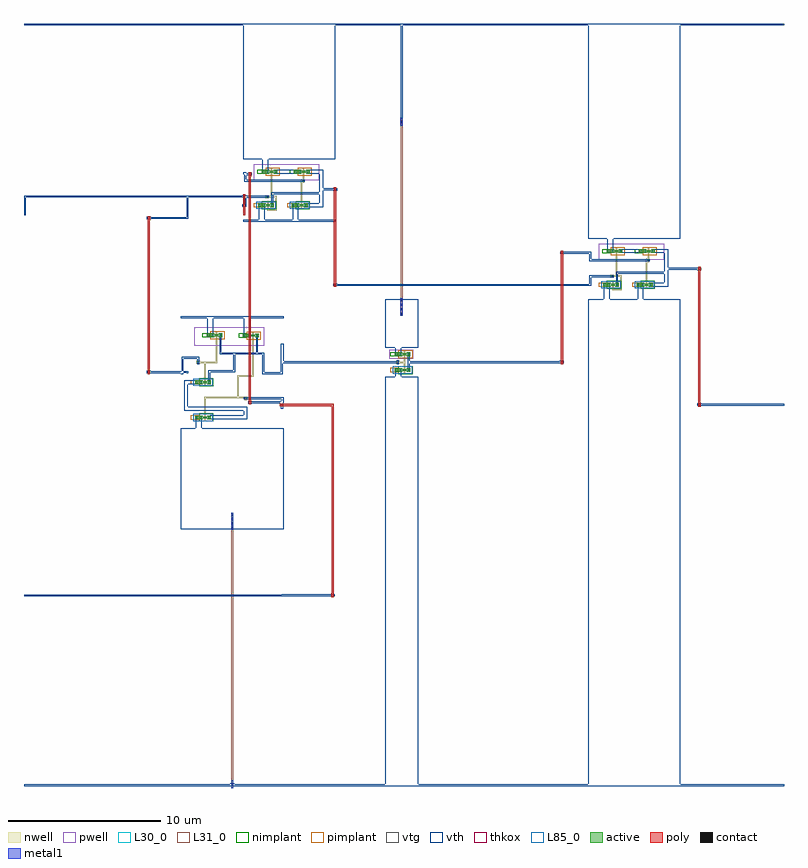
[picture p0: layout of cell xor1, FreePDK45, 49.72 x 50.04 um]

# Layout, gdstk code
import gdstk
lib = gdstk.Library(unit=1e-6, precision=5e-10)
def R(c, l, rs):  # rectangles x0, y0, x1, y1
    for r in rs: c.add(gdstk.rectangle(r[:2], r[2:], *l))
def A(c, l, x, y, w, h, nx, ny, dx, dy):  # array of equal rectangles
    R(c, l, [(x+i*dx, y+j*dy, x+i*dx+w, y+j*dy+h) for i in range(nx) for j in range(ny)])
active = (1, 0)
pwell = (2, 0)
nwell = (3, 0)
nimplant = (4, 0)
pimplant = (5, 0)
vtg = (6, 0)
vth = (7, 0)
thkox = (8, 0)
poly = (9, 0)
contact = (10, 0)
metal1 = (11, 0)
L30_0 = (30, 0)
L31_0 = (31, 0)
L85_0 = (85, 0)

nmos1v_0 = lib.new_cell('nmos1v_0')
A(nmos1v_0, active, -0.1, 0, 0.1, 0.12, 3, 1, 0.1, 0)
R(nmos1v_0, active, [(-0.6,-0.06,-0.1,0.18), (0.2,-0.06,0.44,0.18)])
R(nmos1v_0, nwell, [(0,-0.18,0.1,-0.16), (0,-0.16,0.1,0), (0,0,0.1,0.12), (0,0.12,0.1,0.28), (0,0.28,0.1,0.3)])
R(nmos1v_0, nimplant, [(-0.34,-0.2,0.58,0.32), (-0.18,-0.18,0.28,0.3)])
R(nmos1v_0, pimplant, [(-0.88,-0.08,-0.34,0.2)])
R(nmos1v_0, vtg, [(-0.54,0,-0.42,0.12), (-0.28,0,-0.16,0.12), (0.26,0,0.38,0.12)])
R(nmos1v_0, vth, [(-0.54,-0.06,-0.16,0.18), (-0.54,-0.06,-0.16,0.18), (0.26,-0.06,0.38,0.18)])
R(nmos1v_0, L85_0, [(-0.72,-0.18,0.56,0.3)])

pmos1v_1 = lib.new_cell('pmos1v_1')
A(pmos1v_1, active, -0.1, 0, 0.1, 0.12, 3, 1, 0.1, 0)
R(pmos1v_1, active, [(-0.6,-0.06,-0.1,0.18), (0.2,-0.06,0.44,0.18)])
R(pmos1v_1, pwell, [(-0.72,-0.18,0.56,0.3)])
R(pmos1v_1, nwell, [(0,-0.18,0.1,-0.16), (0,-0.16,0.1,0), (0,0,0.1,0.12), (0,0.12,0.1,0.28), (0,0.28,0.1,0.3)])
R(pmos1v_1, nimplant, [(-0.88,-0.08,-0.34,0.2)])
R(pmos1v_1, pimplant, [(-0.34,-0.2,0.58,0.32), (-0.18,-0.18,0.28,0.3)])
R(pmos1v_1, vtg, [(-0.54,0,-0.42,0.12), (-0.28,0,-0.16,0.12), (0.26,0,0.38,0.12)])
R(pmos1v_1, vth, [(-0.54,-0.06,-0.16,0.18), (-0.54,-0.06,-0.16,0.18), (0.26,-0.06,0.38,0.18)])

m1_pov_10 = lib.new_cell('M1_POv_10')
R(m1_pov_10, nwell, [(-0.1,-0.12,0.1,0.12)])
R(m1_pov_10, vtg, [(-0.06,-0.06,0.06,0.06)])
R(m1_pov_10, vth, [(-0.12,-0.06,0.12,0.06)])

m1_pov_11 = lib.new_cell('M1_POv_11')
R(m1_pov_11, nwell, [(-0.12,-0.1,0.12,0.1)])
R(m1_pov_11, vtg, [(-0.06,-0.06,0.06,0.06)])
R(m1_pov_11, vth, [(-0.12,-0.06,0.12,0.06)])

nor = lib.new_cell('nor')
R(nor, pwell, [(0.67,2.71,4.98,3.73)])
R(nor, vth, [(0,0,6,0.12), (0,0.99,0.12,1.11), (5.88,2.04,6,2.16), (0,3.09,0.12,3.21), (0,4.08,6,4.2)])
nor.add(gdstk.FlexPath([(2.15,1.62),(1.84,1.62)], 0.1, ends="extended", simple_path=True, layer=3, datatype=0))  # nwell
nor.add(gdstk.FlexPath([(2.15,0.765),(2.15,1.62)], 0.1, ends="extended", simple_path=True, layer=3, datatype=0))  # nwell
nor.add(gdstk.FlexPath([(1.61,0.765),(2.15,0.765)], 0.1, ends="extended", simple_path=True, layer=3, datatype=0))  # nwell
nor.add(gdstk.FlexPath([(1.61,0.82),(1.61,0.765)], 0.1, ends=(0, 0.05), simple_path=True, layer=3, datatype=0))  # nwell
nor.add(gdstk.FlexPath([(1.84,1.62),(1.84,3.02)], 0.1, ends=(0.05, 0), simple_path=True, layer=3, datatype=0))  # nwell
nor.add(gdstk.FlexPath([(1.55,1.62),(1.84,1.62)], 0.1, ends=(0.12, 0.05), simple_path=True, layer=3, datatype=0))  # nwell
nor.add(gdstk.FlexPath([(3.95,3.02),(3.95,2.66)], 0.1, ends=(0, 0.05), simple_path=True, layer=3, datatype=0))  # nwell
nor.add(gdstk.FlexPath([(3.9,2.66),(3.95,2.66)], 0.1, ends=(0.05, 0), simple_path=True, layer=3, datatype=0))  # nwell
nor.add(gdstk.FlexPath([(3.81,2.66),(3.81,1.3)], 0.1, ends=(0.05, 0), simple_path=True, layer=3, datatype=0))  # nwell
nor.add(gdstk.FlexPath([(3.95,2.66),(3.81,2.66)], 0.1, ends="extended", simple_path=True, layer=3, datatype=0))  # nwell
nor.add(gdstk.FlexPath([(0.12,1.62),(1.55,1.62)], 0.12, ends=(0.06, 0.12), simple_path=True, layer=7, datatype=0))  # vth
nor.add(gdstk.FlexPath([(0.12,1.05),(0.12,1.62)], 0.12, ends="extended", simple_path=True, layer=7, datatype=0))  # vth
nor.add(gdstk.FlexPath([(4.14,1.06),(5.1,1.06)], 0.24, ends=(0, 0.12), simple_path=True, layer=7, datatype=0))  # vth
nor.add(gdstk.FlexPath([(5.88,2.1),(5.1,2.1)], 0.12, ends=(0, 0.12), simple_path=True, layer=7, datatype=0))  # vth
nor.add(gdstk.FlexPath([(5.1,3.26),(4.28,3.26)], 0.24, ends=(0.12, 0), simple_path=True, layer=7, datatype=0))  # vth
nor.add(gdstk.FlexPath([(1.88,1.18),(1.88,1.85)], 0.12, ends=(0, 0.06), simple_path=True, layer=7, datatype=0))  # vth
nor.add(gdstk.FlexPath([(0.12,2.66),(3.9,2.66)], 0.12, ends="extended", simple_path=True, layer=7, datatype=0))  # vth
nor.add(gdstk.FlexPath([(0.12,3.15),(0.12,2.66)], 0.12, ends="extended", simple_path=True, layer=7, datatype=0))  # vth
nor.add(gdstk.FlexPath([(2.17,3.26),(3.36,3.26)], 0.24, ends="flush", simple_path=True, layer=7, datatype=0))  # vth
nor.add(gdstk.FlexPath([(5.1,1.06),(5.1,1.85)], 0.24, ends=(0.12, 0.06), simple_path=True, layer=7, datatype=0))  # vth
nor.add(gdstk.FlexPath([(1.88,1.85),(5.1,1.85)], 0.12, ends=(0.06, 0.12), simple_path=True, layer=7, datatype=0))  # vth
nor.add(gdstk.FlexPath([(5.1,1.85),(5.1,2.1)], 0.24, ends=(0.06, 0.06), simple_path=True, layer=7, datatype=0))  # vth
nor.add(gdstk.FlexPath([(5.1,2.1),(5.1,3.26)], 0.24, ends=(0.06, 0.12), simple_path=True, layer=7, datatype=0))  # vth
nor.add(gdstk.FlexPath([(3.41,0.94),(3.41,0)], 0.38, ends="flush", simple_path=True, layer=7, datatype=0))  # vth
nor.add(gdstk.FlexPath([(1.21,0.94),(1.21,0)], 0.38, ends="flush", simple_path=True, layer=7, datatype=0))  # vth
nor.add(gdstk.FlexPath([(1.44,3.38),(1.44,4.2)], 0.38, ends="flush", simple_path=True, layer=7, datatype=0))  # vth
nor.add(gdstk.Reference(nmos1v_0, (3.76,1)))
nor.add(gdstk.Reference(nmos1v_0, (1.56,1)))
nor.add(gdstk.Reference(pmos1v_1, (3.9,3.2)))
nor.add(gdstk.Reference(pmos1v_1, (1.79,3.2)))
nor.add(gdstk.Reference(m1_pov_10, (3.9,2.66)))
nor.add(gdstk.Reference(m1_pov_11, (1.55,1.62)))

m1_pov_12 = lib.new_cell('M1_POv_12')
R(m1_pov_12, nwell, [(-0.12,-0.1,0.12,0.1)])
R(m1_pov_12, vtg, [(-0.06,-0.06,0.06,0.06)])
R(m1_pov_12, vth, [(-0.06,-0.12,0.06,0.12)])

nand = lib.new_cell('nand')
R(nand, pwell, [(0.88,5.52,5.47,6.72)])
R(nand, vth, [(0,0,6.74,0.12), (6.62,1.805,6.74,1.925), (0,3.665,0.12,3.785), (6.62,5.53,6.74,5.65), (0,7.33,6.74,7.45)])
nand.add(gdstk.FlexPath([(3.75,3.55),(3.75,2.14)], 0.1, ends="extended", simple_path=True, layer=3, datatype=0))  # nwell
nand.add(gdstk.FlexPath([(1.59,2.14),(3.75,2.14)], 0.1, ends="extended", simple_path=True, layer=3, datatype=0))  # nwell
nand.add(gdstk.FlexPath([(1.59,1.07),(1.59,2.14)], 0.1, ends=(0, 0.05), simple_path=True, layer=3, datatype=0))  # nwell
nand.add(gdstk.FlexPath([(3.75,2.14),(4.25,2.14)], 0.1, ends="extended", simple_path=True, layer=3, datatype=0))  # nwell
nand.add(gdstk.FlexPath([(1.59,3.37),(1.59,4.44)], 0.1, ends=(0, 0.05), simple_path=True, layer=3, datatype=0))  # nwell
nand.add(gdstk.FlexPath([(2.34,4.44),(1.59,4.44)], 0.1, ends="extended", simple_path=True, layer=3, datatype=0))  # nwell
nand.add(gdstk.FlexPath([(1.15,4.44),(1.59,4.44)], 0.1, ends=(0, 0.05), simple_path=True, layer=3, datatype=0))  # nwell
nand.add(gdstk.FlexPath([(4.72,5.95),(4.72,3.55)], 0.1, ends=(0, 0.05), simple_path=True, layer=3, datatype=0))  # nwell
nand.add(gdstk.FlexPath([(2.34,5.97),(2.34,4.44)], 0.1, ends=(0, 0.05), simple_path=True, layer=3, datatype=0))  # nwell
nand.add(gdstk.FlexPath([(4.25,2.14),(4.25,2.08)], 0.1, ends=(0.05, 0), simple_path=True, layer=3, datatype=0))  # nwell
nand.add(gdstk.FlexPath([(4.72,3.55),(3.75,3.55)], 0.1, ends="extended", simple_path=True, layer=3, datatype=0))  # nwell
nand.add(gdstk.FlexPath([(0.12,3.725),(0.12,4.74)], 0.12, ends="extended", simple_path=True, layer=7, datatype=0))  # vth
nand.add(gdstk.FlexPath([(6.62,5.59),(6.62,3.725)], 0.12, ends="extended", simple_path=True, layer=7, datatype=0))  # vth
nand.add(gdstk.FlexPath([(4.23,1.4),(4.23,0.84)], 0.24, ends="extended", simple_path=True, layer=7, datatype=0))  # vth
nand.add(gdstk.FlexPath([(1.86,3.86),(3.51,3.86)], 0.12, ends="extended", simple_path=True, layer=7, datatype=0))  # vth
nand.add(gdstk.FlexPath([(2.61,5.01),(2.61,6.09)], 0.12, ends=(0.06, 0), simple_path=True, layer=7, datatype=0))  # vth
nand.add(gdstk.FlexPath([(0.35,1.4),(4.23,1.4)], 0.24, ends="extended", simple_path=True, layer=7, datatype=0))  # vth
nand.add(gdstk.FlexPath([(1.19,0.71),(1.19,0.12)], 0.38, ends="flush", simple_path=True, layer=7, datatype=0))  # vth
nand.add(gdstk.FlexPath([(1.15,4.74),(1.15,4.44)], 0.12, ends=(0.06, 0), simple_path=True, layer=7, datatype=0))  # vth
nand.add(gdstk.FlexPath([(4.23,0.84),(1.92,0.84)], 0.24, ends=(0.12, 0), simple_path=True, layer=7, datatype=0))  # vth
nand.add(gdstk.FlexPath([(3.51,3.86),(3.51,5.01)], 0.12, ends="extended", simple_path=True, layer=7, datatype=0))  # vth
nand.add(gdstk.FlexPath([(1.94,6.33),(1.94,7.45)], 0.38, ends="flush", simple_path=True, layer=7, datatype=0))  # vth
nand.add(gdstk.FlexPath([(5.41,3.725),(5.41,5.01)], 0.12, ends="extended", simple_path=True, layer=7, datatype=0))  # vth
nand.add(gdstk.FlexPath([(1.86,3.25),(1.86,3.86)], 0.12, ends=(0, 0.06), simple_path=True, layer=7, datatype=0))  # vth
nand.add(gdstk.FlexPath([(6.62,3.725),(5.41,3.725)], 0.12, ends="extended", simple_path=True, layer=7, datatype=0))  # vth
nand.add(gdstk.FlexPath([(4.32,6.31),(4.32,7.33)], 0.38, ends="flush", simple_path=True, layer=7, datatype=0))  # vth
nand.add(gdstk.FlexPath([(4.99,5.01),(3.51,5.01)], 0.12, ends="extended", simple_path=True, layer=7, datatype=0))  # vth
nand.add(gdstk.FlexPath([(3.51,5.01),(2.61,5.01)], 0.12, ends="extended", simple_path=True, layer=7, datatype=0))  # vth
nand.add(gdstk.FlexPath([(4.99,6.07),(4.99,5.01)], 0.12, ends=(0, 0.06), simple_path=True, layer=7, datatype=0))  # vth
nand.add(gdstk.FlexPath([(0.35,3.13),(0.35,1.4)], 0.24, ends="extended", simple_path=True, layer=7, datatype=0))  # vth
nand.add(gdstk.FlexPath([(1,3.13),(0.35,3.13)], 0.24, ends=(0, 0.12), simple_path=True, layer=7, datatype=0))  # vth
nand.add(gdstk.FlexPath([(6.68,2.08),(6.68,1.805)], 0.12, ends=(0.06, 0), simple_path=True, layer=7, datatype=0))  # vth
nand.add(gdstk.FlexPath([(4.25,2.08),(6.68,2.08)], 0.12, ends=(0, 0.06), simple_path=True, layer=7, datatype=0))  # vth
nand.add(gdstk.FlexPath([(5.41,5.01),(4.99,5.01)], 0.12, ends="extended", simple_path=True, layer=7, datatype=0))  # vth
nand.add(gdstk.FlexPath([(0.12,4.74),(1.15,4.74)], 0.12, ends="extended", simple_path=True, layer=7, datatype=0))  # vth
nand.add(gdstk.Reference(nmos1v_0, (1.54,3.07)))
nand.add(gdstk.Reference(nmos1v_0, (1.54,0.77)))
nand.add(gdstk.Reference(pmos1v_1, (2.29,6.15)))
nand.add(gdstk.Reference(pmos1v_1, (4.67,6.13)))
nand.add(gdstk.Reference(m1_pov_10, (4.25,2.08)))
nand.add(gdstk.Reference(m1_pov_12, (1.15,4.44)))

inv = lib.new_cell('inv')
R(inv, pwell, [(0.26,1.3,1.83,1.9)])
R(inv, vth, [(0,0,2.15,0.12), (0,1.015,0.12,1.135), (2.03,1.015,2.15,1.135), (0,2.03,2.15,2.15)])
inv.add(gdstk.FlexPath([(0.83,1.08),(1.26,1.08)], 0.1, ends=(0, 0.05), simple_path=True, layer=3, datatype=0))  # nwell
inv.add(gdstk.FlexPath([(1.26,1.37),(1.26,1.08)], 0.1, ends=(0, 0.05), simple_path=True, layer=3, datatype=0))  # nwell
inv.add(gdstk.FlexPath([(1.26,1.08),(1.26,0.81)], 0.1, ends=(0.05, 0), simple_path=True, layer=3, datatype=0))  # nwell
inv.add(gdstk.FlexPath([(0.86,0.45),(0.86,0.12)], 0.38, ends="flush", simple_path=True, layer=7, datatype=0))  # vth
inv.add(gdstk.FlexPath([(0.86,1.73),(0.86,2.03)], 0.38, ends="flush", simple_path=True, layer=7, datatype=0))  # vth
inv.add(gdstk.FlexPath([(2.03,1.075),(1.53,1.075)], 0.12, ends="extended", simple_path=True, layer=7, datatype=0))  # vth
inv.add(gdstk.FlexPath([(1.53,1.49),(1.53,1.075)], 0.12, ends=(0, 0.06), simple_path=True, layer=7, datatype=0))  # vth
inv.add(gdstk.FlexPath([(1.53,1.075),(1.53,0.69)], 0.12, ends=(0.06, 0), simple_path=True, layer=7, datatype=0))  # vth
inv.add(gdstk.FlexPath([(0.83,1.075),(0.83,1.08)], 0.12, ends=(0.06, 0), simple_path=True, layer=7, datatype=0))  # vth
inv.add(gdstk.FlexPath([(0.12,1.075),(0.83,1.075)], 0.12, ends=(0, 0.06), simple_path=True, layer=7, datatype=0))  # vth
inv.add(gdstk.Reference(nmos1v_0, (1.21,0.51)))
inv.add(gdstk.Reference(pmos1v_1, (1.21,1.55)))
inv.add(gdstk.Reference(m1_pov_12, (0.83,1.08)))

m2_m1v_0 = lib.new_cell('M2_M1v_0')
R(m2_m1v_0, vth, [(-0.13,-0.075,0.13,0.075)])
R(m2_m1v_0, thkox, [(-0.07,-0.07,0.07,0.07)])
R(m2_m1v_0, poly, [(-0.075,-0.13,0.075,0.13)])

m2_m1v_1 = lib.new_cell('M2_M1v_1')
R(m2_m1v_1, vth, [(-0.075,-0.235,0.075,0.235)])
R(m2_m1v_1, thkox, [(-0.07,-0.07,0.07,0.07)])
R(m2_m1v_1, poly, [(-0.13,-0.075,0.13,0.075)])

m2_m1v_2 = lib.new_cell('M2_M1v_2')
R(m2_m1v_2, vth, [(-0.075,-0.13,0.075,0.13)])
R(m2_m1v_2, thkox, [(-0.07,-0.07,0.07,0.07)])
R(m2_m1v_2, poly, [(-0.075,-0.27,0.075,0.27)])

m2_m1v_3 = lib.new_cell('M2_M1v_3')
R(m2_m1v_3, vth, [(-1.075,-0.51,1.075,0.51)])
A(m2_m1v_3, thkox, -0.07, -0.505, 0.14, 0.14, 1, 4, 0, 0.29)
R(m2_m1v_3, poly, [(-0.075,-0.565,0.075,0.565)])

m3_m2v_4 = lib.new_cell('M3_M2v_4')
R(m3_m2v_4, poly, [(-0.075,-0.565,0.075,0.565)])
A(m3_m2v_4, contact, -0.07, -0.505, 0.14, 0.14, 1, 4, 0, 0.29)
R(m3_m2v_4, metal1, [(-0.075,-0.565,0.075,0.565)])

m4_m3v_5 = lib.new_cell('M4_M3v_5')
R(m4_m3v_5, metal1, [(-0.075,-0.565,0.075,0.565)])
A(m4_m3v_5, L30_0, -0.07, -0.505, 0.14, 0.14, 1, 4, 0, 0.29)
R(m4_m3v_5, L31_0, [(-0.075,-0.565,0.075,0.565)])

m4_m3v_6 = lib.new_cell('M4_M3v_6')
R(m4_m3v_6, metal1, [(-0.075,-0.27,0.075,0.27)])
R(m4_m3v_6, L30_0, [(-0.07,-0.07,0.07,0.07)])
R(m4_m3v_6, L31_0, [(-0.075,-0.13,0.075,0.13)])

m3_m2v_7 = lib.new_cell('M3_M2v_7')
R(m3_m2v_7, poly, [(-0.075,-0.27,0.075,0.27)])
R(m3_m2v_7, contact, [(-0.07,-0.07,0.07,0.07)])
R(m3_m2v_7, metal1, [(-0.075,-0.27,0.075,0.27)])

m2_m1v_8 = lib.new_cell('M2_M1v_8')
R(m2_m1v_8, vth, [(-3.37,-0.51,3.37,0.51)])
A(m2_m1v_8, thkox, -0.07, -0.505, 0.14, 0.14, 1, 4, 0, 0.29)
R(m2_m1v_8, poly, [(-0.075,-0.565,0.075,0.565)])

m2_m1v_9 = lib.new_cell('M2_M1v_9')
R(m2_m1v_9, vth, [(-0.13,-0.075,0.13,0.075)])
R(m2_m1v_9, thkox, [(-0.07,-0.07,0.07,0.07)])
R(m2_m1v_9, poly, [(-0.075,-0.27,0.075,0.27)])

xor1 = lib.new_cell('xor1')
R(xor1, vth, [(0,0,49.72,0.12), (0,12.415,0.12,12.535), (49.6,24.885,49.72,25.005), (0,37.36,0.12,37.48), (0,49.77,49.72,49.89)])
xor1.add(gdstk.FlexPath([(35.205,34.89),(36.92,34.89)], 0.12, ends="flush", simple_path=True, layer=7, datatype=0))  # vth
xor1.add(gdstk.FlexPath([(39.92,31.74),(39.92,0.12)], 6, ends="flush", simple_path=True, layer=7, datatype=0))  # vth
xor1.add(gdstk.FlexPath([(24.705,26.65),(24.705,0.12)], 2.15, ends="flush", simple_path=True, layer=7, datatype=0))  # vth
xor1.add(gdstk.FlexPath([(0.12,12.475),(16.93,12.475)], 0.12, ends="flush", simple_path=True, layer=7, datatype=0))  # vth
xor1.add(gdstk.FlexPath([(16.93,12.475),(20.19,12.475)], 0.12, ends=(0, 0.06), simple_path=True, layer=7, datatype=0))  # vth
xor1.add(gdstk.FlexPath([(24.705,43.47),(24.705,49.77)], 0.12, ends="flush", simple_path=True, layer=7, datatype=0))  # vth
xor1.add(gdstk.FlexPath([(24.705,28.8),(24.705,31.35)], 2.15, ends="flush", simple_path=True, layer=7, datatype=0))  # vth
xor1.add(gdstk.FlexPath([(39.92,35.94),(39.92,49.77)], 6, ends="flush", simple_path=True, layer=7, datatype=0))  # vth
xor1.add(gdstk.FlexPath([(17.35,41.14),(17.35,49.77)], 6, ends="flush", simple_path=True, layer=7, datatype=0))  # vth
xor1.add(gdstk.FlexPath([(16.93,27.725),(16.93,28.82)], 0.12, ends=(0.06, 0), simple_path=True, layer=7, datatype=0))  # vth
xor1.add(gdstk.FlexPath([(23.63,27.725),(16.93,27.725)], 0.12, ends=(0, 0.06), simple_path=True, layer=7, datatype=0))  # vth
xor1.add(gdstk.FlexPath([(44.185,33.84),(42.92,33.84)], 0.12, ends="flush", simple_path=True, layer=7, datatype=0))  # vth
xor1.add(gdstk.FlexPath([(25.78,27.725),(35.2,27.725)], 0.12, ends=(0, 0.06), simple_path=True, layer=7, datatype=0))  # vth
xor1.add(gdstk.FlexPath([(20.355,39.04),(20.35,39.04)], 0.12, ends=(0.06, 0), simple_path=True, layer=7, datatype=0))  # vth
xor1.add(gdstk.FlexPath([(20.35,32.805),(20.355,32.805)], 0.12, ends="extended", simple_path=True, layer=7, datatype=0))  # vth
xor1.add(gdstk.FlexPath([(20.35,32.79),(20.35,32.805)], 0.12, ends="extended", simple_path=True, layer=7, datatype=0))  # vth
xor1.add(gdstk.FlexPath([(36.92,32.79),(20.35,32.79)], 0.12, ends=(0, 0.06), simple_path=True, layer=7, datatype=0))  # vth
xor1.add(gdstk.FlexPath([(0.06,37.48),(0.06,38.58)], 0.12, ends=(0, 0.06), simple_path=True, layer=7, datatype=0))  # vth
xor1.add(gdstk.FlexPath([(49.6,24.945),(44.18,24.945)], 0.12, ends=(0, 0.06), simple_path=True, layer=7, datatype=0))  # vth
xor1.add(gdstk.FlexPath([(14.78,40.03),(14.47,40.03)], 0.12, ends="extended", simple_path=True, layer=7, datatype=0))  # vth
xor1.add(gdstk.FlexPath([(14.78,40.045),(14.78,40.03)], 0.12, ends="extended", simple_path=True, layer=7, datatype=0))  # vth
xor1.add(gdstk.FlexPath([(14.785,40.045),(14.78,40.045)], 0.12, ends="extended", simple_path=True, layer=7, datatype=0))  # vth
xor1.add(gdstk.FlexPath([(14.78,25.1),(14.785,25.1)], 0.12, ends="extended", simple_path=True, layer=7, datatype=0))  # vth
xor1.add(gdstk.FlexPath([(14.78,25.115),(14.78,25.1)], 0.12, ends="extended", simple_path=True, layer=7, datatype=0))  # vth
xor1.add(gdstk.FlexPath([(16.87,25.115),(14.78,25.115)], 0.12, ends="extended", simple_path=True, layer=7, datatype=0))  # vth
xor1.add(gdstk.FlexPath([(16.87,25.155),(16.93,25.155)], 0.12, ends=(0.06, 0), simple_path=True, layer=7, datatype=0))  # vth
xor1.add(gdstk.FlexPath([(16.87,24.94),(16.87,25.155)], 0.12, ends="extended", simple_path=True, layer=7, datatype=0))  # vth
xor1.add(gdstk.FlexPath([(16.93,12.49),(20.185,12.49)], 0.12, ends="extended", simple_path=True, layer=7, datatype=0))  # vth
xor1.add(gdstk.FlexPath([(16.93,12.475),(16.93,12.49)], 0.12, ends="extended", simple_path=True, layer=7, datatype=0))  # vth
xor1.add(gdstk.FlexPath([(13.62,23.29),(13.62,17.33)], 6.74, ends="flush", simple_path=True, layer=7, datatype=0))  # vth
xor1.add(gdstk.FlexPath([(10.7,37.165),(10.7,38.58)], 0.12, ends="extended", simple_path=True, layer=7, datatype=0))  # vth
xor1.add(gdstk.FlexPath([(8.175,37.165),(10.7,37.165)], 0.12, ends="extended", simple_path=True, layer=7, datatype=0))  # vth
xor1.add(gdstk.FlexPath([(10.7,27.09),(8.165,27.09)], 0.12, ends="extended", simple_path=True, layer=7, datatype=0))  # vth
xor1.add(gdstk.FlexPath([(10.7,27.075),(10.7,27.09)], 0.12, ends="extended", simple_path=True, layer=7, datatype=0))  # vth
xor1.add(gdstk.FlexPath([(10.37,27.075),(8.17,27.075)], 0.12, ends="extended", simple_path=True, layer=7, datatype=0))  # vth
xor1.add(gdstk.FlexPath([(0.06,38.58),(10.7,38.58)], 0.12, ends="extended", simple_path=True, layer=7, datatype=0))  # vth
xor1.add(gdstk.FlexPath([(14.41,38.595),(14.405,38.595)], 0.12, ends="extended", simple_path=True, layer=7, datatype=0))  # vth
xor1.add(gdstk.FlexPath([(14.41,38.58),(14.41,38.595)], 0.12, ends="extended", simple_path=True, layer=7, datatype=0))  # vth
xor1.add(gdstk.FlexPath([(10.7,38.58),(14.41,38.58)], 0.12, ends="extended", simple_path=True, layer=7, datatype=0))  # vth
xor1.add(gdstk.FlexPath([(35.2,34.89),(35.205,34.89)], 0.14, ends=(0.07, 0), simple_path=True, layer=9, datatype=0))  # poly
xor1.add(gdstk.FlexPath([(35.2,27.725),(35.2,34.89)], 0.14, ends="extended", simple_path=True, layer=9, datatype=0))  # poly
xor1.add(gdstk.FlexPath([(35.195,27.725),(35.2,27.725)], 0.14, ends="extended", simple_path=True, layer=9, datatype=0))  # poly
xor1.add(gdstk.FlexPath([(35.195,27.74),(35.195,27.725)], 0.14, ends="extended", simple_path=True, layer=9, datatype=0))  # poly
xor1.add(gdstk.FlexPath([(20.35,39.04),(20.355,39.04)], 0.14, ends="extended", simple_path=True, layer=9, datatype=0))  # poly
xor1.add(gdstk.FlexPath([(20.35,32.79),(20.35,39.04)], 0.14, ends="extended", simple_path=True, layer=9, datatype=0))  # poly
xor1.add(gdstk.FlexPath([(20.355,32.79),(20.35,32.79)], 0.14, ends="extended", simple_path=True, layer=9, datatype=0))  # poly
xor1.add(gdstk.FlexPath([(20.355,32.805),(20.355,32.79)], 0.14, ends="extended", simple_path=True, layer=9, datatype=0))  # poly
xor1.add(gdstk.FlexPath([(44.18,33.84),(44.185,33.84)], 0.14, ends=(0.07, 0), simple_path=True, layer=9, datatype=0))  # poly
xor1.add(gdstk.FlexPath([(44.18,24.945),(44.18,33.84)], 0.14, ends="extended", simple_path=True, layer=9, datatype=0))  # poly
xor1.add(gdstk.FlexPath([(44.185,24.945),(44.18,24.945)], 0.14, ends="extended", simple_path=True, layer=9, datatype=0))  # poly
xor1.add(gdstk.FlexPath([(44.185,24.96),(44.185,24.945)], 0.14, ends="extended", simple_path=True, layer=9, datatype=0))  # poly
xor1.add(gdstk.FlexPath([(14.785,40.03),(14.785,40.045)], 0.14, ends="extended", simple_path=True, layer=9, datatype=0))  # poly
xor1.add(gdstk.FlexPath([(14.78,40.03),(14.785,40.03)], 0.14, ends="extended", simple_path=True, layer=9, datatype=0))  # poly
xor1.add(gdstk.FlexPath([(14.78,25.115),(14.78,40.03)], 0.14, ends="extended", simple_path=True, layer=9, datatype=0))  # poly
xor1.add(gdstk.FlexPath([(14.785,25.115),(14.78,25.115)], 0.14, ends="extended", simple_path=True, layer=9, datatype=0))  # poly
xor1.add(gdstk.FlexPath([(14.785,25.1),(14.785,25.115)], 0.14, ends="extended", simple_path=True, layer=9, datatype=0))  # poly
xor1.add(gdstk.FlexPath([(20.19,24.94),(16.87,24.94)], 0.14, ends="extended", simple_path=True, layer=9, datatype=0))  # poly
xor1.add(gdstk.FlexPath([(20.19,12.475),(20.19,24.94)], 0.14, ends="extended", simple_path=True, layer=9, datatype=0))  # poly
xor1.add(gdstk.FlexPath([(20.185,12.475),(20.19,12.475)], 0.14, ends="extended", simple_path=True, layer=9, datatype=0))  # poly
xor1.add(gdstk.FlexPath([(20.185,12.49),(20.185,12.475)], 0.14, ends="extended", simple_path=True, layer=9, datatype=0))  # poly
xor1.add(gdstk.FlexPath([(8.17,37.165),(8.175,37.165)], 0.14, ends="extended", simple_path=True, layer=9, datatype=0))  # poly
xor1.add(gdstk.FlexPath([(8.17,27.075),(8.17,37.165)], 0.14, ends="extended", simple_path=True, layer=9, datatype=0))  # poly
xor1.add(gdstk.FlexPath([(8.165,27.075),(8.17,27.075)], 0.14, ends="extended", simple_path=True, layer=9, datatype=0))  # poly
xor1.add(gdstk.FlexPath([(8.165,27.09),(8.165,27.075)], 0.14, ends="extended", simple_path=True, layer=9, datatype=0))  # poly
xor1.add(gdstk.FlexPath([(14.41,37.99),(14.415,37.99)], 0.14, ends=(0.07, 0), simple_path=True, layer=9, datatype=0))  # poly
xor1.add(gdstk.FlexPath([(14.41,38.58),(14.41,37.99)], 0.14, ends="extended", simple_path=True, layer=9, datatype=0))  # poly
xor1.add(gdstk.FlexPath([(14.405,37.42),(14.41,37.42)], 0.14, ends="extended", simple_path=True, layer=9, datatype=0))  # poly
xor1.add(gdstk.FlexPath([(14.405,38.595),(14.405,37.42)], 0.14, ends="extended", simple_path=True, layer=9, datatype=0))  # poly
xor1.add(gdstk.FlexPath([(13.62,17.33),(13.62,0.12)], 0.14, ends="flush", simple_path=True, layer=31, datatype=0))  # L31_0
xor1.add(gdstk.FlexPath([(24.705,31.35),(24.705,43.47)], 0.14, ends="flush", simple_path=True, layer=31, datatype=0))  # L31_0
xor1.add(gdstk.Reference(nor, (36.92,31.74)))
xor1.add(gdstk.Reference(nor, (14.35,36.94)))
xor1.add(gdstk.Reference(nand, (10.25,23.29)))
xor1.add(gdstk.Reference(inv, (23.63,26.65)))
xor1.add(gdstk.Reference(m2_m1v_0, (35.205,34.89)))
xor1.add(gdstk.Reference(m2_m1v_0, (35.195,27.74)))
xor1.add(gdstk.Reference(m2_m1v_0, (20.355,39.04)))
xor1.add(gdstk.Reference(m2_m1v_0, (20.355,32.805)))
xor1.add(gdstk.Reference(m2_m1v_0, (44.185,33.84)))
xor1.add(gdstk.Reference(m2_m1v_0, (44.185,24.96)))
xor1.add(gdstk.Reference(m2_m1v_0, (14.785,40.045)))
xor1.add(gdstk.Reference(m2_m1v_0, (14.785,25.1)))
xor1.add(gdstk.Reference(m2_m1v_0, (20.185,12.49)))
xor1.add(gdstk.Reference(m2_m1v_0, (8.175,37.165)))
xor1.add(gdstk.Reference(m2_m1v_0, (8.165,27.09)))
xor1.add(gdstk.Reference(m2_m1v_0, (14.415,37.99)))
xor1.add(gdstk.Reference(m2_m1v_0, (14.405,38.595)))
xor1.add(gdstk.Reference(m2_m1v_1, (16.87,24.94)))
xor1.add(gdstk.Reference(m2_m1v_2, (24.705,43.47)))
xor1.add(gdstk.Reference(m2_m1v_3, (24.705,31.35)))
xor1.add(gdstk.Reference(m3_m2v_4, (13.62,17.33)))
xor1.add(gdstk.Reference(m3_m2v_4, (24.705,31.35)))
xor1.add(gdstk.Reference(m4_m3v_5, (13.62,17.33)))
xor1.add(gdstk.Reference(m4_m3v_5, (24.705,31.35)))
xor1.add(gdstk.Reference(m4_m3v_6, (13.62,0.12)))
xor1.add(gdstk.Reference(m4_m3v_6, (24.705,43.47)))
xor1.add(gdstk.Reference(m3_m2v_7, (13.62,0.12)))
xor1.add(gdstk.Reference(m3_m2v_7, (24.705,43.47)))
xor1.add(gdstk.Reference(m2_m1v_8, (13.62,17.33)))
xor1.add(gdstk.Reference(m2_m1v_9, (13.62,0.12)))

lib.write_gds('xor1.gds')
